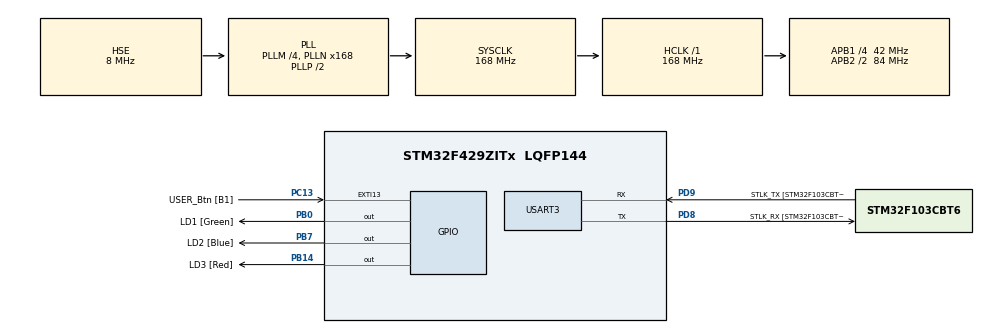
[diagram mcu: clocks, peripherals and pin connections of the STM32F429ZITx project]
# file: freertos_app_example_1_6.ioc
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FREERTOS.INCLUDE_vTaskDelayUntil=1
FREERTOS.MEMORY_ALLOCATION=0
FREERTOS.Tasks01=defaultTask,0,128,StartDefaultTask,Default,NULL,Dynamic,NULL,NULL
FREERTOS.configGENERATE_RUN_TIME_STATS=1
FREERTOS.configRECORD_STACK_HIGH_ADDRESS=1
FREERTOS.configUSE_IDLE_HOOK=1
FREERTOS.configUSE_STATS_FORMATTING_FUNCTIONS=1
FREERTOS.configUSE_TRACE_FACILITY=1
Mcu.Family=STM32F4
Mcu.Name=STM32F429ZITx
Mcu.Package=LQFP144
NVIC.PriorityGroup=NVIC_PRIORITYGROUP_4
NVIC.TIM1_UP_TIM10_IRQn=true\:15\:0\:false\:false\:true\:false\:false\:true\:true
NVIC.TIM2_IRQn=true\:5\:0\:false\:false\:true\:true\:true\:true\:true
NVIC.TimeBase=TIM1_UP_TIM10_IRQn
NVIC.TimeBaseIP=TIM1
PA13.GPIO_Label=TMS
PA13.Mode=Serial_Wire
PA13.Signal=SYS_JTMS-SWDIO
PA14.GPIO_Label=TCK
PA14.Mode=Serial_Wire
PA14.Signal=SYS_JTCK-SWCLK
PB0.GPIO_Label=LD1 [Green]
PB0.Signal=GPIO_Output
PB14.GPIO_Label=LD3 [Red]
PB14.Signal=GPIO_Output
PB7.GPIO_Label=LD2 [Blue]
PB7.Signal=GPIO_Output
PC13.GPIO_Label=USER_Btn [B1]
PC13.Signal=GPXTI13
PC14/OSC32_IN.Mode=LSE-External-Oscillator
PC14/OSC32_IN.Signal=RCC_OSC32_IN
PC15/OSC32_OUT.Mode=LSE-External-Oscillator
PC15/OSC32_OUT.Signal=RCC_OSC32_OUT
PD8.GPIO_Label=STLK_RX [STM32F103CBT6_PA3]
PD8.Mode=Asynchronous
PD8.Signal=USART3_TX
PD9.GPIO_Label=STLK_TX [STM32F103CBT6_PA2]
PD9.Mode=Asynchronous
PD9.Signal=USART3_RX
PH0/OSC_IN.GPIO_Label=MCO [STM32F103CBT6_PA8]
PH0/OSC_IN.Mode=HSE-External-Clock-Source
PH0/OSC_IN.Signal=RCC_OSC_IN
PH1/OSC_OUT.Mode=HSE-External-Clock-Source
PH1/OSC_OUT.Signal=RCC_OSC_OUT
ProjectManager.HeapSize=0x200
ProjectManager.StackSize=0x400
ProjectManager.TargetToolchain=STM32CubeIDE
RCC.48MHZClocksFreq_Value=48000000
RCC.AHBFreq_Value=168000000
RCC.APB1CLKDivider=RCC_HCLK_DIV4
RCC.APB1Freq_Value=42000000
RCC.APB1TimFreq_Value=84000000
RCC.APB2CLKDivider=RCC_HCLK_DIV2
RCC.APB2Freq_Value=84000000
RCC.APB2TimCLKDivider=2
RCC.APB2TimFreq_Value=168000000
RCC.CortexFreq_Value=168000000
RCC.HCLKFreq_Value=168000000
RCC.HSE_VALUE=8000000
RCC.HSI_VALUE=16000000
RCC.PLLM=4
RCC.PLLMUL=RCC_PLL_MUL9
RCC.PLLN=168
RCC.PLLQ=7
RCC.PLLSourceVirtual=RCC_PLLSOURCE_HSE
RCC.PRESCALERUSB=RCC_USBCLKSOURCE_PLL_DIV1_5
RCC.SYSCLKFreq_VALUE=168000000
RCC.SYSCLKSource=RCC_SYSCLKSOURCE_PLLCLK
RCC.SYSCLKSourceVirtual=RCC_SYSCLKSOURCE_PLLCLK
RCC.USBFreq_Value=48000000
RCC.VCOOutputFreq_Value=336000000
TIM2.Period=84000-1
TIM2.Prescaler=2-1
USART3.VirtualMode=VM_ASYNC
VP_FREERTOS_VS_CMSIS_V1.Mode=CMSIS_V1
VP_SYS_VS_tim1.Mode=TIM1
VP_TIM2_VS_ClockSourceINT.Mode=Internal
board=NUCLEO-F429ZI

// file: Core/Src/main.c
/* USER CODE BEGIN Header */
/**
  ******************************************************************************
  * @file           : main.c
  * @brief          : Main program body
  ******************************************************************************
  * @attention
  *
  * Copyright (c) 2024 STMicroelectronics.
  * All rights reserved.
  *
  * This software is licensed under terms that can be found in the LICENSE file
  * in the root directory of this software component.
  * If no LICENSE file comes with this software, it is provided AS-IS.
  *
  ******************************************************************************
  */
/* USER CODE END Header */
#include "main.h"
#include "cmsis_os.h"

/* USER CODE BEGIN Includes */

/* Demo includes. */
#include "logger.h"
#include "dwt.h"

/* Application includes. */
#include "app.h"

/* USER CODE END Includes */

TIM_HandleTypeDef htim2;

UART_HandleTypeDef huart3;

osThreadId defaultTaskHandle;
/* USER CODE BEGIN PV */
volatile unsigned long ulHighFrequencyTimerTicks;

/* USER CODE END PV */

void SystemClock_Config(void);
static void MX_GPIO_Init(void);
static void MX_USART3_UART_Init(void);
static void MX_TIM2_Init(void);
void StartDefaultTask(void const * argument);

/* USER CODE BEGIN 0 */
extern void initialise_monitor_handles(void);

/* USER CODE END 0 */

int main(void)
{

  /* USER CODE BEGIN 1 */
	initialise_monitor_handles();

  /* USER CODE END 1 */

  /* MCU Configuration--------------------------------------------------------*/

  /* Reset of all peripherals, Initializes the Flash interface and the Systick. */
  HAL_Init();

  /* Configure the system clock */
  SystemClock_Config();

  /* Initialize all configured peripherals */
  MX_GPIO_Init();
  MX_USART3_UART_Init();
  MX_TIM2_Init();
  /* USER CODE BEGIN 2 */
  /* Start timer */
	HAL_TIM_Base_Start_IT(&htim2);

    /* add application, ... */
	app_init();

  /* USER CODE END 2 */

  /* USER CODE BEGIN RTOS_QUEUES */
  /* add queues, ... */
	#ifdef _defaultTask_

  /* USER CODE END RTOS_QUEUES */

  /* Create the thread(s) */
  /* definition and creation of defaultTask */
  osThreadDef(defaultTask, StartDefaultTask, osPriorityNormal, 0, 128);
  defaultTaskHandle = osThreadCreate(osThread(defaultTask), NULL);

  /* USER CODE BEGIN RTOS_THREADS */
	#endif

  /* add threads, ... */
  /* USER CODE END RTOS_THREADS */

  /* Start scheduler */
  osKernelStart();

  /* We should never get here as control is now taken by the scheduler */

  /* Infinite loop */
  /* USER CODE BEGIN WHILE */
  while (1)
  {
    printf("HEllo World\r\n");
    HAL_Delay(1000);
    /* USER CODE END WHILE */

  }
}

void SystemClock_Config(void)
{
  RCC_OscInitTypeDef RCC_OscInitStruct = {0};
  RCC_ClkInitTypeDef RCC_ClkInitStruct = {0};

  /** Configure the main internal regulator output voltage
  */
  __HAL_RCC_PWR_CLK_ENABLE();
  __HAL_PWR_VOLTAGESCALING_CONFIG(PWR_REGULATOR_VOLTAGE_SCALE1);

  /** Initializes the RCC Oscillators according to the specified parameters
  * in the RCC_OscInitTypeDef structure.
  */
  RCC_OscInitStruct.OscillatorType = RCC_OSCILLATORTYPE_HSE;
  RCC_OscInitStruct.HSEState = RCC_HSE_BYPASS;
  RCC_OscInitStruct.PLL.PLLState = RCC_PLL_ON;
  RCC_OscInitStruct.PLL.PLLSource = RCC_PLLSOURCE_HSE;
  RCC_OscInitStruct.PLL.PLLM = 4;
  RCC_OscInitStruct.PLL.PLLN = 168;
  RCC_OscInitStruct.PLL.PLLP = RCC_PLLP_DIV2;
  RCC_OscInitStruct.PLL.PLLQ = 7;
  if (HAL_RCC_OscConfig(&RCC_OscInitStruct) != HAL_OK)
  {
    Error_Handler();
  }

  /** Initializes the CPU, AHB and APB buses clocks
  */
  RCC_ClkInitStruct.ClockType = RCC_CLOCKTYPE_HCLK|RCC_CLOCKTYPE_SYSCLK
                              |RCC_CLOCKTYPE_PCLK1|RCC_CLOCKTYPE_PCLK2;
  RCC_ClkInitStruct.SYSCLKSource = RCC_SYSCLKSOURCE_PLLCLK;
  RCC_ClkInitStruct.AHBCLKDivider = RCC_SYSCLK_DIV1;
  RCC_ClkInitStruct.APB1CLKDivider = RCC_HCLK_DIV4;
  RCC_ClkInitStruct.APB2CLKDivider = RCC_HCLK_DIV2;

  if (HAL_RCC_ClockConfig(&RCC_ClkInitStruct, FLASH_LATENCY_5) != HAL_OK)
  {
    Error_Handler();
  }
}

static void MX_TIM2_Init(void)
{

  TIM_ClockConfigTypeDef sClockSourceConfig = {0};
  TIM_MasterConfigTypeDef sMasterConfig = {0};

  htim2.Instance = TIM2;
  htim2.Init.Prescaler = 2-1;
  htim2.Init.CounterMode = TIM_COUNTERMODE_UP;
  htim2.Init.Period = 84000-1;
  htim2.Init.ClockDivision = TIM_CLOCKDIVISION_DIV1;
  htim2.Init.AutoReloadPreload = TIM_AUTORELOAD_PRELOAD_DISABLE;
  if (HAL_TIM_Base_Init(&htim2) != HAL_OK)
  {
    Error_Handler();
  }
  sClockSourceConfig.ClockSource = TIM_CLOCKSOURCE_INTERNAL;
  if (HAL_TIM_ConfigClockSource(&htim2, &sClockSourceConfig) != HAL_OK)
  {
    Error_Handler();
  }
  sMasterConfig.MasterOutputTrigger = TIM_TRGO_RESET;
  sMasterConfig.MasterSlaveMode = TIM_MASTERSLAVEMODE_DISABLE;
  if (HAL_TIMEx_MasterConfigSynchronization(&htim2, &sMasterConfig) != HAL_OK)
  {
    Error_Handler();
  }

}

static void MX_USART3_UART_Init(void)
{

  huart3.Instance = USART3;
  huart3.Init.BaudRate = 115200;
  huart3.Init.WordLength = UART_WORDLENGTH_8B;
  huart3.Init.StopBits = UART_STOPBITS_1;
  huart3.Init.Parity = UART_PARITY_NONE;
  huart3.Init.Mode = UART_MODE_TX_RX;
  huart3.Init.HwFlowCtl = UART_HWCONTROL_NONE;
  huart3.Init.OverSampling = UART_OVERSAMPLING_16;
  if (HAL_UART_Init(&huart3) != HAL_OK)
  {
    Error_Handler();
  }

}

static void MX_GPIO_Init(void)
{
  GPIO_InitTypeDef GPIO_InitStruct = {0};

  /* GPIO Ports Clock Enable */
  __HAL_RCC_GPIOC_CLK_ENABLE();
  __HAL_RCC_GPIOH_CLK_ENABLE();
  __HAL_RCC_GPIOB_CLK_ENABLE();
  __HAL_RCC_GPIOD_CLK_ENABLE();
  __HAL_RCC_GPIOA_CLK_ENABLE();

  /*Configure GPIO pin Output Level */
  HAL_GPIO_WritePin(GPIOB, LD1_Pin|LD3_Pin|LD2_Pin, GPIO_PIN_RESET);

  /*Configure GPIO pin : USER_Btn_Pin */
  GPIO_InitStruct.Pin = USER_Btn_Pin;
  GPIO_InitStruct.Mode = GPIO_MODE_IT_RISING;
  GPIO_InitStruct.Pull = GPIO_NOPULL;
  HAL_GPIO_Init(USER_Btn_GPIO_Port, &GPIO_InitStruct);

  /*Configure GPIO pins : LD1_Pin LD3_Pin LD2_Pin */
  GPIO_InitStruct.Pin = LD1_Pin|LD3_Pin|LD2_Pin;
  GPIO_InitStruct.Mode = GPIO_MODE_OUTPUT_PP;
  GPIO_InitStruct.Pull = GPIO_NOPULL;
  GPIO_InitStruct.Speed = GPIO_SPEED_FREQ_LOW;
  HAL_GPIO_Init(GPIOB, &GPIO_InitStruct);

}

/* USER CODE BEGIN 4 */
/* Functions needed when configGENERATE_RUN_TIME_STATS is on */
void configureTimerForRunTimeStats(void)
{
    ulHighFrequencyTimerTicks = 0;
}

unsigned long getRunTimeCounterValue(void)
{
	return ulHighFrequencyTimerTicks;
}

/* USER CODE END 4 */

void StartDefaultTask(void const * argument)
{
  for(;;)
  {
    osDelay(1);
  }
}

void HAL_TIM_PeriodElapsedCallback(TIM_HandleTypeDef *htim)
{
  if (htim->Instance == TIM1) {
    HAL_IncTick();
  }
  /* USER CODE BEGIN Callback 1 */
	if (htim->Instance == TIM2)
	{
		ulHighFrequencyTimerTicks++;
	}

  /* USER CODE END Callback 1 */
}

void Error_Handler(void)
{
  __disable_irq();
  while (1)
  {
  }
}
